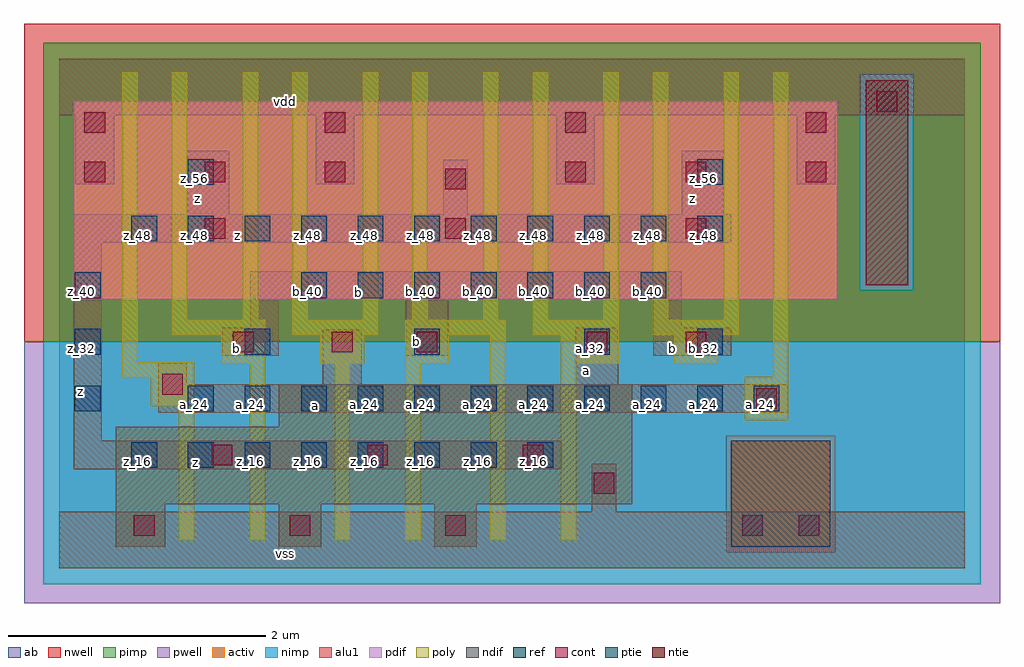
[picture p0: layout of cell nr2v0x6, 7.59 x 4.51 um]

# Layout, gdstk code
import gdstk
lib = gdstk.Library(unit=1e-6, precision=2.5e-09)
def R(c, l, rs):  # rectangles x0, y0, x1, y1
    for r in rs: c.add(gdstk.rectangle(r[:2], r[2:], *l))
def A(c, l, x, y, w, h, nx, ny, dx, dy):  # array of equal rectangles
    R(c, l, [(x+i*dx, y+j*dy, x+i*dx+w, y+j*dy+h) for i in range(nx) for j in range(ny)])
ndif = (3, 0)
pdif = (4, 0)
ntie = (5, 0)
ptie = (6, 0)
ref = (24, 0)
cont = (25, 0)
pwell = (41, 0)
nwell = (42, 0)
activ = (43, 0)
pimp = (44, 0)
nimp = (45, 0)
poly = (46, 0)
alu1 = (49, 0)
ab = (63, 0)

nr2v0x6 = lib.new_cell('nr2v0x6')
R(nr2v0x6, ndif, [(0.44,0.165,0.825,0.495), (1.705,0.165,2.035,0.495), (2.915,0.165,3.245,0.495), (0.44,0.495,4.455,1.1), (1.705,1.1,4.455,1.43)])
R(nr2v0x6, pdif, [(0.11,2.09,6.05,3.63)])
R(nr2v0x6, ntie, [(6.27,2.2,6.6,3.795)])
R(nr2v0x6, ptie, [(5.225,0.165,5.995,0.99)])
A(nr2v0x6, ref, 0.56, 0.78, 0.2, 0.2, 8, 1, 0.44, 0)
A(nr2v0x6, ref, 1, 1.22, 0.2, 0.2, 11, 1, 0.44, 0)
A(nr2v0x6, ref, 0.12, 1.66, 0.2, 0.2, 4, 1, 1.32, 0)
A(nr2v0x6, ref, 1.88, 2.1, 0.2, 0.2, 7, 1, 0.44, 0)
A(nr2v0x6, ref, 0.56, 2.54, 0.2, 0.2, 11, 1, 0.44, 0)
R(nr2v0x6, ref, [(0.12,1.22,0.32,1.42), (4.96,1.66,5.16,1.86), (0.12,2.1,0.32,2.3), (1,2.98,1.2,3.18), (4.96,2.98,5.16,3.18)])
A(nr2v0x6, cont, 0.58, 0.25, 0.16, 0.16, 3, 1, 1.21, 0)
A(nr2v0x6, cont, 1.185, 0.8, 0.16, 0.16, 3, 1, 1.21, 0)
A(nr2v0x6, cont, 1.13, 2.56, 0.16, 0.16, 3, 1, 1.87, 0)
A(nr2v0x6, cont, 0.195, 3, 0.16, 0.16, 3, 1, 0.935, 0)
A(nr2v0x6, cont, 3.935, 3, 0.16, 0.16, 3, 1, 0.935, 0)
A(nr2v0x6, cont, 0.195, 3.385, 0.16, 0.16, 4, 1, 1.87, 0)
R(nr2v0x6, cont, [(5.31,0.25,5.47,0.41), (5.75,0.25,5.91,0.41), (4.155,0.58,4.315,0.74), (5.42,1.24,5.58,1.4), (0.8,1.35,0.96,1.51), (1.35,1.68,1.51,1.84), (2.12,1.68,2.28,1.84), (2.78,1.68,2.94,1.84), (4.1,1.68,4.26,1.84), (4.87,1.68,5.03,1.84), (3,2.945,3.16,3.105), (6.355,3.55,6.515,3.71)])
R(nr2v0x6, pwell, [(-0.275,-0.275,7.315,1.76)])
R(nr2v0x6, nwell, [(-0.275,1.76,7.315,4.235)])
R(nr2v0x6, activ, [(0.44,0.165,0.825,0.495), (1.705,0.165,2.035,0.495), (2.915,0.165,3.245,0.495), (5.225,0.165,5.995,0.99), (0.44,0.495,4.455,1.1), (1.705,1.1,4.455,1.43), (0.11,2.09,6.05,3.63), (6.27,2.2,6.6,3.795)])
R(nr2v0x6, pimp, [(5.185,0.125,6.035,1.03), (-0.125,1.76,7.165,2.16), (-0.125,2.16,6.23,3.835), (6.64,2.16,7.165,3.835), (-0.125,3.835,7.165,4.085)])
R(nr2v0x6, nimp, [(-0.125,-0.125,7.165,0.125), (-0.125,0.125,5.185,1.03), (6.035,0.125,7.165,1.03), (-0.125,1.03,7.165,1.76), (6.23,2.16,6.64,3.835)])
R(nr2v0x6, poly, [(0.93,0.215,1.05,1.26), (1.48,0.215,1.6,1.59), (2.14,0.215,2.26,1.59), (2.69,0.215,2.81,1.59), (3.35,0.215,3.47,1.81), (3.9,0.215,4.02,1.59), (5.33,1.15,5.67,1.49), (0.71,1.26,1.05,1.48), (0.49,1.48,1.05,1.6), (5.55,1.49,5.67,3.855), (1.26,1.59,1.6,1.81), (2.03,1.59,2.37,1.81), (2.69,1.59,3.03,1.81), (3.9,1.59,4.35,1.81), (4.78,1.59,5.12,1.81), (0.49,1.6,0.61,3.855), (0.875,1.81,1.6,1.93), (1.81,1.81,2.48,1.93), (2.69,1.81,3.47,1.93), (3.68,1.81,4.35,1.93), (4.615,1.81,5.285,1.93), (0.875,1.93,0.995,3.855), (1.425,1.93,1.545,3.855), (1.81,1.93,1.93,3.855), (2.36,1.93,2.48,3.855), (2.745,1.93,2.865,3.855), (3.295,1.93,3.415,3.855), (3.68,1.93,3.8,3.855), (4.23,1.93,4.35,3.855), (4.615,1.93,4.735,3.855), (5.165,1.93,5.285,3.855)])
A(nr2v0x6, alu1, 0.125, 2.985, 0.3, 0.535, 4, 1, 1.87, 0)
R(nr2v0x6, alu1, [(0,0,7.04,0.44), (4.14,0.44,4.33,0.81), (0.11,0.77,3.905,0.99), (0.11,0.99,0.33,2.53), (0.77,1.21,5.665,1.43), (0.77,1.43,0.99,1.595), (2.05,1.43,2.35,1.855), (4.015,1.43,4.345,1.87), (1.265,1.65,1.705,1.87), (2.695,1.65,3.025,2.09), (4.62,1.65,5.225,1.87), (1.485,1.87,1.705,2.09), (4.62,1.87,4.84,2.09), (1.485,2.09,4.84,2.31), (0.11,2.53,5.225,2.75), (0.99,2.75,1.32,3.245), (2.985,2.75,3.175,3.175), (4.84,2.75,5.17,3.245), (0,3.52,7.04,3.96)])
R(nr2v0x6, ab, [(0,0,7.04,3.96)])
nr2v0x6.add(gdstk.Label('vss', (1.76,0.11), layer=49, texttype=0))
nr2v0x6.add(gdstk.Label('z', (1.0575,0.825), layer=49, texttype=0))
nr2v0x6.add(gdstk.Label('a', (1.9925,1.265), layer=49, texttype=0))
nr2v0x6.add(gdstk.Label('b', (4.77,1.705), layer=49, texttype=0))
nr2v0x6.add(gdstk.Label('a', (4.0975,1.54), layer=49, texttype=0))
nr2v0x6.add(gdstk.Label('b', (2.7775,1.76), layer=49, texttype=0))
nr2v0x6.add(gdstk.Label('b', (1.375,1.705), layer=49, texttype=0))
nr2v0x6.add(gdstk.Label('b', (2.3225,2.145), layer=49, texttype=0))
nr2v0x6.add(gdstk.Label('z', (0.165,1.375), layer=49, texttype=0))
nr2v0x6.add(gdstk.Label('z', (1.3875,2.585), layer=49, texttype=0))
nr2v0x6.add(gdstk.Label('z', (4.9225,2.8725), layer=49, texttype=0))
nr2v0x6.add(gdstk.Label('z', (1.0725,2.8725), layer=49, texttype=0))
nr2v0x6.add(gdstk.Label('vdd', (1.76,3.63), layer=49, texttype=0))
nr2v0x6.add(gdstk.Label('a_24', (5.45,1.27), layer=24, texttype=0))
nr2v0x6.add(gdstk.Label('z_16', (0.61,0.83), layer=24, texttype=0))
nr2v0x6.add(gdstk.Label('z_48', (0.61,2.59), layer=24, texttype=0))
nr2v0x6.add(gdstk.Label('z_16', (1.05,0.83), layer=24, texttype=0))
nr2v0x6.add(gdstk.Label('a_24', (1.05,1.27), layer=24, texttype=0))
nr2v0x6.add(gdstk.Label('z_48', (1.05,2.59), layer=24, texttype=0))
nr2v0x6.add(gdstk.Label('z_56', (1.05,3.03), layer=24, texttype=0))
nr2v0x6.add(gdstk.Label('z_16', (1.49,0.83), layer=24, texttype=0))
nr2v0x6.add(gdstk.Label('a_24', (1.49,1.27), layer=24, texttype=0))
nr2v0x6.add(gdstk.Label('b_32', (1.49,1.71), layer=24, texttype=0))
nr2v0x6.add(gdstk.Label('z_48', (1.49,2.59), layer=24, texttype=0))
nr2v0x6.add(gdstk.Label('z_16', (1.93,0.83), layer=24, texttype=0))
nr2v0x6.add(gdstk.Label('a_24', (1.93,1.27), layer=24, texttype=0))
nr2v0x6.add(gdstk.Label('b_40', (1.93,2.15), layer=24, texttype=0))
nr2v0x6.add(gdstk.Label('z_48', (1.93,2.59), layer=24, texttype=0))
nr2v0x6.add(gdstk.Label('z_24', (0.17,1.27), layer=24, texttype=0))
nr2v0x6.add(gdstk.Label('z_32', (0.17,1.71), layer=24, texttype=0))
nr2v0x6.add(gdstk.Label('z_40', (0.17,2.15), layer=24, texttype=0))
nr2v0x6.add(gdstk.Label('z_16', (2.37,0.83), layer=24, texttype=0))
nr2v0x6.add(gdstk.Label('a_24', (2.37,1.27), layer=24, texttype=0))
nr2v0x6.add(gdstk.Label('b_40', (2.37,2.15), layer=24, texttype=0))
nr2v0x6.add(gdstk.Label('z_48', (2.37,2.59), layer=24, texttype=0))
nr2v0x6.add(gdstk.Label('z_16', (2.81,0.83), layer=24, texttype=0))
nr2v0x6.add(gdstk.Label('a_24', (2.81,1.27), layer=24, texttype=0))
nr2v0x6.add(gdstk.Label('b_32', (2.81,1.71), layer=24, texttype=0))
nr2v0x6.add(gdstk.Label('b_40', (2.81,2.15), layer=24, texttype=0))
nr2v0x6.add(gdstk.Label('z_48', (2.81,2.59), layer=24, texttype=0))
nr2v0x6.add(gdstk.Label('z_16', (3.25,0.83), layer=24, texttype=0))
nr2v0x6.add(gdstk.Label('a_24', (3.25,1.27), layer=24, texttype=0))
nr2v0x6.add(gdstk.Label('b_40', (3.25,2.15), layer=24, texttype=0))
nr2v0x6.add(gdstk.Label('z_48', (3.25,2.59), layer=24, texttype=0))
nr2v0x6.add(gdstk.Label('z_16', (3.69,0.83), layer=24, texttype=0))
nr2v0x6.add(gdstk.Label('a_24', (3.69,1.27), layer=24, texttype=0))
nr2v0x6.add(gdstk.Label('b_40', (3.69,2.15), layer=24, texttype=0))
nr2v0x6.add(gdstk.Label('z_48', (3.69,2.59), layer=24, texttype=0))
nr2v0x6.add(gdstk.Label('a_24', (4.13,1.27), layer=24, texttype=0))
nr2v0x6.add(gdstk.Label('a_32', (4.13,1.71), layer=24, texttype=0))
nr2v0x6.add(gdstk.Label('b_40', (4.13,2.15), layer=24, texttype=0))
nr2v0x6.add(gdstk.Label('z_48', (4.13,2.59), layer=24, texttype=0))
nr2v0x6.add(gdstk.Label('a_24', (4.57,1.27), layer=24, texttype=0))
nr2v0x6.add(gdstk.Label('b_40', (4.57,2.15), layer=24, texttype=0))
nr2v0x6.add(gdstk.Label('z_48', (4.57,2.59), layer=24, texttype=0))
nr2v0x6.add(gdstk.Label('a_24', (5.01,1.27), layer=24, texttype=0))
nr2v0x6.add(gdstk.Label('b_32', (5.01,1.71), layer=24, texttype=0))
nr2v0x6.add(gdstk.Label('z_48', (5.01,2.59), layer=24, texttype=0))
nr2v0x6.add(gdstk.Label('z_56', (5.01,3.03), layer=24, texttype=0))

lib.write_gds('nr2v0x6.gds')
